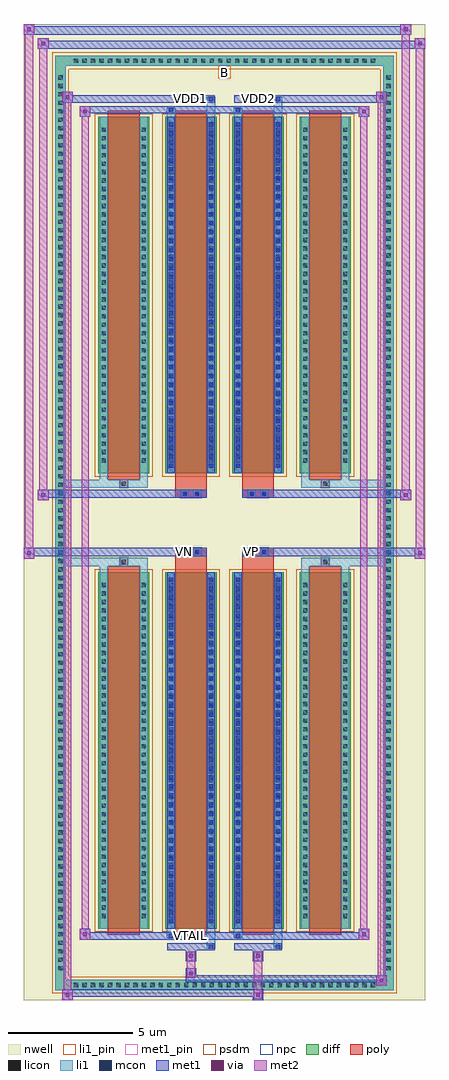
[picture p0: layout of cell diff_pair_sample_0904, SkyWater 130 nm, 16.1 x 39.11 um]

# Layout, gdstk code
import gdstk
lib = gdstk.Library(unit=1e-6, precision=5e-09)
def R(c, l, rs):  # rectangles x0, y0, x1, y1
    for r in rs: c.add(gdstk.rectangle(r[:2], r[2:], *l))
def A(c, l, x, y, w, h, nx, ny, dx, dy):  # array of equal rectangles
    R(c, l, [(x+i*dx, y+j*dy, x+i*dx+w, y+j*dy+h) for i in range(nx) for j in range(ny)])
def P(c, l, *ps):  # polygons
    for p in ps: c.add(gdstk.Polygon(p, *l))
nwell = (64, 20)
diff = (65, 20)
poly = (66, 20)
licon = (66, 44)
li1_pin = (67, 16)
li1 = (67, 20)
mcon = (67, 44)
met1_pin = (68, 16)
met1 = (68, 20)
via = (68, 44)
met2 = (69, 20)
psdm = (94, 20)
npc = (95, 20)

diff_pair_sample_0904 = lib.new_cell('diff_pair_sample_0904')
R(diff_pair_sample_0904, nwell, [(-8.05,-19.12,8.05,19.99), (-5.37,-17.31,-0.01,-0.805), (0.01,-17.31,5.37,-0.805), (-5.37,0.805,-0.01,17.31), (0.01,0.805,5.37,17.31)])
A(diff_pair_sample_0904, diff, -6.155, -18.72, 0.41, 0.41, 36, 2, 0.34, 37.03)
A(diff_pair_sample_0904, diff, -6.78, -18.055, 0.41, 0.41, 1, 106, 0, 0.34)
A(diff_pair_sample_0904, diff, 6.37, -18.055, 0.41, 0.41, 1, 106, 0, 0.34)
A(diff_pair_sample_0904, diff, -5.06, -16.265, 2.05, 14.28, 4, 2, 2.69, 18.25)
R(diff_pair_sample_0904, diff, [(-6.155,-18.72,6.155,-18.31), (-6.78,-18.055,-6.37,18.055), (6.37,-18.055,6.78,18.055), (-6.155,18.31,6.155,18.72)])
P(diff_pair_sample_0904, diff, [(6.78,18.72),(-6.78,18.72),(-6.78,-18.31),(-6.37,-18.31),(-6.37,18.31),(6.37,18.31),(6.37,-18.31),(-6.37,-18.31),(-6.78,-18.31),(-6.78,-18.72),(6.78,-18.72)])
A(diff_pair_sample_0904, poly, -4.67, -16.515, 1.27, 14.78, 4, 2, 2.69, 18.25)
R(diff_pair_sample_0904, poly, [(-4.2,-1.735,-3.87,-1.405), (-4.2,-1.735,-3.87,-1.405), (-1.98,-1.735,-0.71,-1.335), (0.71,-1.735,1.98,-1.335), (3.87,-1.735,4.2,-1.405), (3.87,-1.735,4.2,-1.405), (-1.98,-1.335,-0.71,-1.005), (-1.76,-1.335,-1.43,-1.005), (-1.26,-1.335,-0.93,-1.005), (0.71,-1.335,1.98,-1.005), (0.93,-1.335,1.26,-1.005), (1.43,-1.335,1.76,-1.005), (-1.98,1.005,-0.71,1.335), (-1.76,1.005,-1.43,1.335), (-1.26,1.005,-0.93,1.335), (0.71,1.005,1.98,1.335), (0.93,1.005,1.26,1.335), (1.43,1.005,1.76,1.335), (-1.98,1.335,-0.71,1.735), (0.71,1.335,1.98,1.735), (-4.2,1.405,-3.87,1.735), (-4.2,1.405,-3.87,1.735), (3.87,1.405,4.2,1.735), (3.87,1.405,4.2,1.735)])
A(diff_pair_sample_0904, licon, -6.035, -18.6, 0.17, 0.17, 36, 2, 0.34, 37.03)
A(diff_pair_sample_0904, licon, -6.66, -17.935, 0.17, 0.17, 1, 106, 0, 0.34)
A(diff_pair_sample_0904, licon, 6.49, -17.935, 0.17, 0.17, 1, 106, 0, 0.34)
A(diff_pair_sample_0904, licon, -4.92, -15.84, 0.17, 0.17, 1, 40, 0, 0.34)
A(diff_pair_sample_0904, licon, -3.32, -15.84, 0.17, 0.17, 1, 40, 0, 0.34)
A(diff_pair_sample_0904, licon, -2.23, -15.84, 0.17, 0.17, 1, 40, 0, 0.34)
A(diff_pair_sample_0904, licon, -0.63, -15.84, 0.17, 0.17, 1, 40, 0, 0.34)
A(diff_pair_sample_0904, licon, 0.46, -15.84, 0.17, 0.17, 1, 40, 0, 0.34)
A(diff_pair_sample_0904, licon, 2.06, -15.84, 0.17, 0.17, 1, 40, 0, 0.34)
A(diff_pair_sample_0904, licon, 3.15, -15.84, 0.17, 0.17, 1, 40, 0, 0.34)
A(diff_pair_sample_0904, licon, 4.75, -15.84, 0.17, 0.17, 1, 40, 0, 0.34)
A(diff_pair_sample_0904, licon, -4.92, 2.41, 0.17, 0.17, 1, 40, 0, 0.34)
A(diff_pair_sample_0904, licon, -3.32, 2.41, 0.17, 0.17, 1, 40, 0, 0.34)
A(diff_pair_sample_0904, licon, -2.23, 2.41, 0.17, 0.17, 1, 40, 0, 0.34)
A(diff_pair_sample_0904, licon, -0.63, 2.41, 0.17, 0.17, 1, 40, 0, 0.34)
A(diff_pair_sample_0904, licon, 0.46, 2.41, 0.17, 0.17, 1, 40, 0, 0.34)
A(diff_pair_sample_0904, licon, 2.06, 2.41, 0.17, 0.17, 1, 40, 0, 0.34)
A(diff_pair_sample_0904, licon, 3.15, 2.41, 0.17, 0.17, 1, 40, 0, 0.34)
A(diff_pair_sample_0904, licon, 4.75, 2.41, 0.17, 0.17, 1, 40, 0, 0.34)
R(diff_pair_sample_0904, licon, [(-4.12,-1.655,-3.95,-1.485), (3.95,-1.655,4.12,-1.485), (-1.68,-1.255,-1.51,-1.085), (-1.18,-1.255,-1.01,-1.085), (1.01,-1.255,1.18,-1.085), (1.51,-1.255,1.68,-1.085), (-1.68,1.085,-1.51,1.255), (-1.18,1.085,-1.01,1.255), (1.01,1.085,1.18,1.255), (1.51,1.085,1.68,1.255), (-4.12,1.485,-3.95,1.655), (3.95,1.485,4.12,1.655)])
R(diff_pair_sample_0904, li1_pin, [(-0.25,17.81,0.25,18.31)])
A(diff_pair_sample_0904, li1, -6.115, -18.68, 0.33, 0.33, 36, 2, 0.34, 37.03)
A(diff_pair_sample_0904, li1, -6.74, -18.015, 0.33, 0.33, 1, 106, 0, 0.34)
A(diff_pair_sample_0904, li1, 6.41, -18.015, 0.33, 0.33, 1, 106, 0, 0.34)
A(diff_pair_sample_0904, li1, -2.23, -16.05, 0.17, 0.17, 1, 39, 0, 0.36)
A(diff_pair_sample_0904, li1, -0.63, -16.05, 0.17, 0.17, 1, 39, 0, 0.36)
A(diff_pair_sample_0904, li1, 0.46, -16.05, 0.17, 0.17, 1, 39, 0, 0.36)
A(diff_pair_sample_0904, li1, 2.06, -16.05, 0.17, 0.17, 1, 39, 0, 0.36)
A(diff_pair_sample_0904, li1, -5, -15.92, 0.33, 0.33, 1, 40, 0, 0.34)
A(diff_pair_sample_0904, li1, -3.4, -15.92, 0.33, 0.33, 1, 40, 0, 0.34)
A(diff_pair_sample_0904, li1, -2.31, -15.92, 0.33, 0.33, 1, 40, 0, 0.34)
A(diff_pair_sample_0904, li1, -0.71, -15.92, 0.33, 0.33, 1, 40, 0, 0.34)
A(diff_pair_sample_0904, li1, 0.38, -15.92, 0.33, 0.33, 1, 40, 0, 0.34)
A(diff_pair_sample_0904, li1, 1.98, -15.92, 0.33, 0.33, 1, 40, 0, 0.34)
A(diff_pair_sample_0904, li1, 3.07, -15.92, 0.33, 0.33, 1, 40, 0, 0.34)
A(diff_pair_sample_0904, li1, 4.67, -15.92, 0.33, 0.33, 1, 40, 0, 0.34)
A(diff_pair_sample_0904, li1, -2.23, 2.2, 0.17, 0.17, 1, 39, 0, 0.36)
A(diff_pair_sample_0904, li1, -0.63, 2.2, 0.17, 0.17, 1, 39, 0, 0.36)
A(diff_pair_sample_0904, li1, 0.46, 2.2, 0.17, 0.17, 1, 39, 0, 0.36)
A(diff_pair_sample_0904, li1, 2.06, 2.2, 0.17, 0.17, 1, 39, 0, 0.36)
A(diff_pair_sample_0904, li1, -5, 2.33, 0.33, 0.33, 1, 40, 0, 0.34)
A(diff_pair_sample_0904, li1, -3.4, 2.33, 0.33, 0.33, 1, 40, 0, 0.34)
A(diff_pair_sample_0904, li1, -2.31, 2.33, 0.33, 0.33, 1, 40, 0, 0.34)
A(diff_pair_sample_0904, li1, -0.71, 2.33, 0.33, 0.33, 1, 40, 0, 0.34)
A(diff_pair_sample_0904, li1, 0.38, 2.33, 0.33, 0.33, 1, 40, 0, 0.34)
A(diff_pair_sample_0904, li1, 1.98, 2.33, 0.33, 0.33, 1, 40, 0, 0.34)
A(diff_pair_sample_0904, li1, 3.07, 2.33, 0.33, 0.33, 1, 40, 0, 0.34)
A(diff_pair_sample_0904, li1, 4.67, 2.33, 0.33, 0.33, 1, 40, 0, 0.34)
R(diff_pair_sample_0904, li1, [(-6.78,-18.72,-6.37,-18.31), (-6.78,-18.72,-6.37,-18.31), (-6.37,-18.72,6.37,-18.31), (6.37,-18.72,6.78,-18.31), (6.37,-18.72,6.78,-18.31), (-6.78,-18.31,-6.37,18.31), (6.37,-18.31,6.78,18.31), (-0.71,-17.07,-0.38,-16.265), (-0.63,-17.07,-0.46,-16.9), (1.98,-17.07,2.31,-16.265), (2.06,-17.07,2.23,-16.9), (-2.31,-16.64,-1.98,-16.265), (-2.23,-16.64,-2.06,-16.47), (0.38,-16.64,0.71,-16.265), (0.46,-16.64,0.63,-16.47), (-5,-16.265,-4.67,-1.985), (-3.4,-16.265,-3.07,-1.985), (-2.31,-16.265,-1.98,-1.985), (-0.71,-16.265,-0.38,-1.985), (0.38,-16.265,0.71,-1.985), (1.98,-16.265,2.31,-1.985), (3.07,-16.265,3.4,-1.985), (4.67,-16.265,5,-1.985), (-2.23,-16.05,-2.06,-2.2), (-0.63,-16.05,-0.46,-2.2), (0.46,-16.05,0.63,-2.2), (2.06,-16.05,2.23,-2.2), (-5,-1.985,-4.67,-1.405), (-3.4,-1.985,-3.07,-1.405), (3.07,-1.985,3.4,-1.405), (4.67,-1.985,5,-1.405), (-6.78,-1.735,-4.2,-1.405), (-5,-1.735,-4.2,-1.405), (-4.2,-1.735,-3.87,-1.405), (-3.87,-1.735,-3.07,-1.405), (3.07,-1.735,3.87,-1.405), (3.87,-1.735,4.2,-1.405), (3.87,-1.735,6.78,-1.405), (4.2,-1.735,5,-1.405), (-1.76,-1.335,-1.43,-1.005), (-1.26,-1.335,-0.93,-1.005), (0.93,-1.335,1.26,-1.005), (1.43,-1.335,1.76,-1.005), (-1.76,1.005,-1.43,1.335), (-1.26,1.005,-0.93,1.335), (0.93,1.005,1.26,1.335), (1.43,1.005,1.76,1.335), (-6.78,1.405,-4.2,1.735), (-5,1.405,-4.2,1.735), (-5,1.405,-4.67,1.985), (-4.2,1.405,-3.87,1.735), (-3.87,1.405,-3.07,1.735), (-3.4,1.405,-3.07,1.985), (3.07,1.405,3.87,1.735), (3.07,1.405,3.4,1.985), (3.87,1.405,4.2,1.735), (3.87,1.405,6.78,1.735), (4.2,1.405,5,1.735), (4.67,1.405,5,1.985), (-5,1.985,-4.67,16.265), (-3.4,1.985,-3.07,16.265), (-2.31,1.985,-1.98,16.265), (-0.71,1.985,-0.38,16.265), (0.38,1.985,0.71,16.265), (1.98,1.985,2.31,16.265), (3.07,1.985,3.4,16.265), (4.67,1.985,5,16.265), (-2.23,2.2,-2.06,16.05), (-0.63,2.2,-0.46,16.05), (0.46,2.2,0.63,16.05), (2.06,2.2,2.23,16.05), (-2.31,16.265,-1.98,16.64), (-0.71,16.265,-0.38,17.07), (0.38,16.265,0.71,16.64), (1.98,16.265,2.31,17.07), (-2.23,16.47,-2.06,16.64), (0.46,16.47,0.63,16.64), (-0.63,16.9,-0.46,17.07), (2.06,16.9,2.23,17.07), (-6.78,18.31,-6.37,18.72), (-6.78,18.31,-6.37,18.72), (-6.37,18.31,6.37,18.72), (6.37,18.31,6.78,18.72), (6.37,18.31,6.78,18.72)])
A(diff_pair_sample_0904, mcon, -2.23, -16.05, 0.17, 0.17, 1, 39, 0, 0.36)
A(diff_pair_sample_0904, mcon, -0.63, -16.05, 0.17, 0.17, 1, 39, 0, 0.36)
A(diff_pair_sample_0904, mcon, 0.46, -16.05, 0.17, 0.17, 1, 39, 0, 0.36)
A(diff_pair_sample_0904, mcon, 2.06, -16.05, 0.17, 0.17, 1, 39, 0, 0.36)
A(diff_pair_sample_0904, mcon, -2.23, 2.2, 0.17, 0.17, 1, 39, 0, 0.36)
A(diff_pair_sample_0904, mcon, -0.63, 2.2, 0.17, 0.17, 1, 39, 0, 0.36)
A(diff_pair_sample_0904, mcon, 0.46, 2.2, 0.17, 0.17, 1, 39, 0, 0.36)
A(diff_pair_sample_0904, mcon, 2.06, 2.2, 0.17, 0.17, 1, 39, 0, 0.36)
R(diff_pair_sample_0904, mcon, [(-0.63,-17.07,-0.46,-16.9), (2.06,-17.07,2.23,-16.9), (-2.23,-16.64,-2.06,-16.47), (0.46,-16.64,0.63,-16.47), (-1.68,-1.255,-1.51,-1.085), (-1.18,-1.255,-1.01,-1.085), (1.01,-1.255,1.18,-1.085), (1.51,-1.255,1.68,-1.085), (-1.68,1.085,-1.51,1.255), (-1.18,1.085,-1.01,1.255), (1.01,1.085,1.18,1.255), (1.51,1.085,1.68,1.255), (-2.23,16.47,-2.06,16.64), (0.46,16.47,0.63,16.64), (-0.63,16.9,-0.46,17.07), (2.06,16.9,2.23,17.07)])
R(diff_pair_sample_0904, met1_pin, [(-1.48,-16.68,-1.21,-16.41), (-1.73,-1.295,-1.46,-1.025), (0.96,-1.295,1.23,-1.025), (-1.48,16.86,-1.21,17.13), (1.21,16.86,1.48,17.13)])
A(diff_pair_sample_0904, met1, -2.29, -16.11, 0.29, 0.29, 1, 39, 0, 0.36)
A(diff_pair_sample_0904, met1, -0.69, -16.11, 0.29, 0.29, 1, 39, 0, 0.36)
A(diff_pair_sample_0904, met1, 0.4, -16.11, 0.29, 0.29, 1, 39, 0, 0.36)
A(diff_pair_sample_0904, met1, 2, -16.11, 0.29, 0.29, 1, 39, 0, 0.36)
A(diff_pair_sample_0904, met1, -2.29, 2.14, 0.29, 0.29, 1, 39, 0, 0.36)
A(diff_pair_sample_0904, met1, -0.69, 2.14, 0.29, 0.29, 1, 39, 0, 0.36)
A(diff_pair_sample_0904, met1, 0.4, 2.14, 0.29, 0.29, 1, 39, 0, 0.36)
A(diff_pair_sample_0904, met1, 2, 2.14, 0.29, 0.29, 1, 39, 0, 0.36)
R(diff_pair_sample_0904, met1, [(-6.51,-19.12,-6.08,-18.69), (1.13,-19.12,1.56,-18.69), (-6.51,-18.98,1.56,-18.69), (6.08,-18.55,6.51,-18.12), (-1.56,-18.41,6.51,-18.12), (-1.56,-18.27,-1.13,-17.84), (-1.56,-17.56,-1.13,-17.13), (1.13,-17.56,1.56,-17.13), (-2.29,-17.13,-0.4,-16.84), (-0.69,-17.13,-0.4,-16.84), (0.4,-17.13,2.29,-16.84), (2,-17.13,2.29,-16.84), (-5.8,-16.7,-5.37,-16.27), (-5.8,-16.7,-2.29,-16.41), (-2.29,-16.7,-2,-16.41), (-2.29,-16.7,-0.4,-16.41), (-0.4,-16.7,0.4,-16.41), (0.4,-16.7,0.69,-16.41), (0.4,-16.7,2.29,-16.41), (2.29,-16.7,5.8,-16.41), (5.37,-16.7,5.8,-16.27), (-2.29,-16.265,-2,-1.985), (-0.69,-16.265,-0.4,-1.985), (0.4,-16.265,0.69,-1.985), (2,-16.265,2.29,-1.985), (-8.05,-1.435,-7.62,-1.005), (7.62,-1.435,8.05,-1.005), (-8.05,-1.335,-0.71,-1.005), (-1.98,-1.335,-0.71,-1.005), (0.71,-1.335,1.98,-1.005), (0.71,-1.335,8.05,-1.005), (-1.74,-1.315,-1.45,-1.025), (-1.24,-1.315,-0.95,-1.025), (0.95,-1.315,1.24,-1.025), (1.45,-1.315,1.74,-1.025), (-7.48,0.905,-7.05,1.335), (7.05,0.905,7.48,1.335), (-7.48,1.005,-1.98,1.335), (-1.98,1.005,-0.71,1.335), (0.71,1.005,1.98,1.335), (1.98,1.005,7.48,1.335), (-1.74,1.025,-1.45,1.315), (-1.24,1.025,-0.95,1.315), (0.95,1.025,1.24,1.315), (1.45,1.025,1.74,1.315), (-2.29,1.985,-2,16.265), (-0.69,1.985,-0.4,16.265), (0.4,1.985,0.69,16.265), (2,1.985,2.29,16.265), (-5.8,16.27,-5.37,16.7), (5.37,16.27,5.8,16.7), (-5.8,16.41,-2.29,16.7), (-2.29,16.41,-2,16.7), (-2.29,16.41,-0.4,16.7), (-0.4,16.41,0.4,16.7), (0.4,16.41,0.69,16.7), (0.4,16.41,2.29,16.7), (2.29,16.41,5.8,16.7), (-6.51,16.84,-6.08,17.27), (-6.51,16.84,-2.29,17.13), (-2.29,16.84,-0.4,17.13), (-0.69,16.84,-0.4,17.13), (0.4,16.84,2.29,17.13), (2,16.84,2.29,17.13), (2.29,16.84,6.51,17.13), (6.08,16.84,6.51,17.27), (-7.48,18.99,-7.05,19.42), (-7.48,18.99,-5.37,19.32), (-5.37,18.99,5.37,19.32), (5.37,18.99,8.05,19.32), (7.62,18.99,8.05,19.42), (-8.05,19.56,-7.62,19.99), (-8.05,19.56,-5.37,19.89), (-5.37,19.56,5.37,19.89), (5.37,19.56,7.48,19.89), (7.05,19.56,7.48,19.99)])
R(diff_pair_sample_0904, via, [(-6.37,-18.98,-6.22,-18.83), (1.27,-18.98,1.42,-18.83), (6.22,-18.41,6.37,-18.26), (-1.42,-18.13,-1.27,-17.98), (-1.42,-17.42,-1.27,-17.27), (1.27,-17.42,1.42,-17.27), (-5.66,-16.56,-5.51,-16.41), (5.51,-16.56,5.66,-16.41), (-7.91,-1.295,-7.76,-1.145), (7.76,-1.295,7.91,-1.145), (-7.34,1.045,-7.19,1.195), (7.19,1.045,7.34,1.195), (-5.66,16.41,-5.51,16.56), (5.51,16.41,5.66,16.56), (-6.37,16.98,-6.22,17.13), (6.22,16.98,6.37,17.13), (-7.34,19.13,-7.19,19.28), (7.76,19.13,7.91,19.28), (-7.91,19.7,-7.76,19.85), (7.19,19.7,7.34,19.85)])
R(diff_pair_sample_0904, met2, [(-6.51,-19.12,-6.08,-18.69), (-6.44,-19.12,-6.15,17.27), (-6.15,-19.12,-6.08,-18.69), (-6.46,-19.07,-6.13,-18.74), (1.18,-19.07,1.51,-18.74), (1.18,-18.74,1.51,-17.51), (6.08,-18.55,6.51,-18.12), (6.15,-18.55,6.44,17.27), (6.44,-18.55,6.51,-18.12), (6.13,-18.5,6.46,-18.17), (-1.51,-18.22,-1.18,-17.89), (-1.51,-17.89,-1.18,-17.51), (-1.51,-17.51,-1.18,-17.18), (1.18,-17.51,1.51,-17.18), (-5.8,-16.7,-5.37,-16.27), (-5.73,-16.7,-5.44,16.7), (-5.44,-16.7,-5.37,-16.27), (5.37,-16.7,5.8,-16.27), (5.44,-16.7,5.73,16.7), (5.73,-16.7,5.8,-16.27), (-5.75,-16.65,-5.42,-16.32), (5.42,-16.65,5.75,-16.32), (-8.05,-1.435,-7.62,-1.005), (-8,-1.435,-7.67,19.99), (-7.67,-1.435,-7.62,-1.005), (7.62,-1.435,8.05,-1.005), (7.67,-1.435,8,19.42), (8,-1.435,8.05,-1.005), (-8,-1.385,-7.67,-1.055), (7.67,-1.385,8,-1.055), (-7.48,0.905,-7.05,1.335), (-7.43,0.905,-7.1,19.42), (-7.1,0.905,-7.05,1.335), (7.05,0.905,7.48,1.335), (7.1,0.905,7.43,19.99), (7.43,0.905,7.48,1.335), (-7.43,0.955,-7.1,1.285), (7.1,0.955,7.43,1.285), (-5.8,16.27,-5.37,16.7), (-5.44,16.27,-5.37,16.7), (5.37,16.27,5.8,16.7), (5.73,16.27,5.8,16.7), (-5.75,16.32,-5.42,16.65), (5.42,16.32,5.75,16.65), (-6.51,16.84,-6.08,17.27), (-6.15,16.84,-6.08,17.27), (6.08,16.84,6.51,17.27), (6.44,16.84,6.51,17.27), (-6.46,16.89,-6.13,17.22), (6.13,16.89,6.46,17.22), (-7.48,18.99,-7.05,19.42), (-7.1,18.99,-7.05,19.42), (7.62,18.99,8.05,19.42), (8,18.99,8.05,19.42), (-7.43,19.04,-7.1,19.37), (7.67,19.04,8,19.37), (-8.05,19.56,-7.62,19.99), (-7.67,19.56,-7.62,19.99), (7.05,19.56,7.48,19.99), (7.43,19.56,7.48,19.99), (-8,19.61,-7.67,19.94), (7.1,19.61,7.43,19.94)])
A(diff_pair_sample_0904, psdm, -5.19, -16.395, 2.31, 14.54, 4, 2, 2.69, 18.25)
P(diff_pair_sample_0904, psdm, [(6.91,18.85),(-6.91,18.85),(-6.91,-18.18),(-6.24,-18.18),(-6.24,18.18),(6.24,18.18),(6.24,-18.18),(-6.24,-18.18),(-6.91,-18.18),(-6.91,-18.85),(6.91,-18.85)])
R(diff_pair_sample_0904, npc, [(-4.22,-1.755,-3.85,-1.385), (3.85,-1.755,4.22,-1.385), (-1.78,-1.355,-1.41,-0.985), (-1.78,-1.355,-0.91,-0.985), (-1.78,-1.355,-0.91,-0.985), (-1.28,-1.355,-0.91,-0.985), (0.91,-1.355,1.28,-0.985), (0.91,-1.355,1.78,-0.985), (0.91,-1.355,1.78,-0.985), (1.41,-1.355,1.78,-0.985), (-1.78,0.985,-1.41,1.355), (-1.78,0.985,-0.91,1.355), (-1.78,0.985,-0.91,1.355), (-1.28,0.985,-0.91,1.355), (0.91,0.985,1.28,1.355), (0.91,0.985,1.78,1.355), (0.91,0.985,1.78,1.355), (1.41,0.985,1.78,1.355), (-4.22,1.385,-3.85,1.755), (3.85,1.385,4.22,1.755)])
diff_pair_sample_0904.add(gdstk.Label('VTAIL', (-1.345,-16.545), layer=68, texttype=5))
diff_pair_sample_0904.add(gdstk.Label('VN', (-1.595,-1.16), layer=68, texttype=5))
diff_pair_sample_0904.add(gdstk.Label('VP', (1.095,-1.16), layer=68, texttype=5))
diff_pair_sample_0904.add(gdstk.Label('B', (0,18.06), layer=67, texttype=5))
diff_pair_sample_0904.add(gdstk.Label('VDD2', (1.345,16.995), layer=68, texttype=5))
diff_pair_sample_0904.add(gdstk.Label('VDD1', (-1.345,16.995), layer=68, texttype=5))

lib.write_gds('diff_pair_sample_0904.gds')
